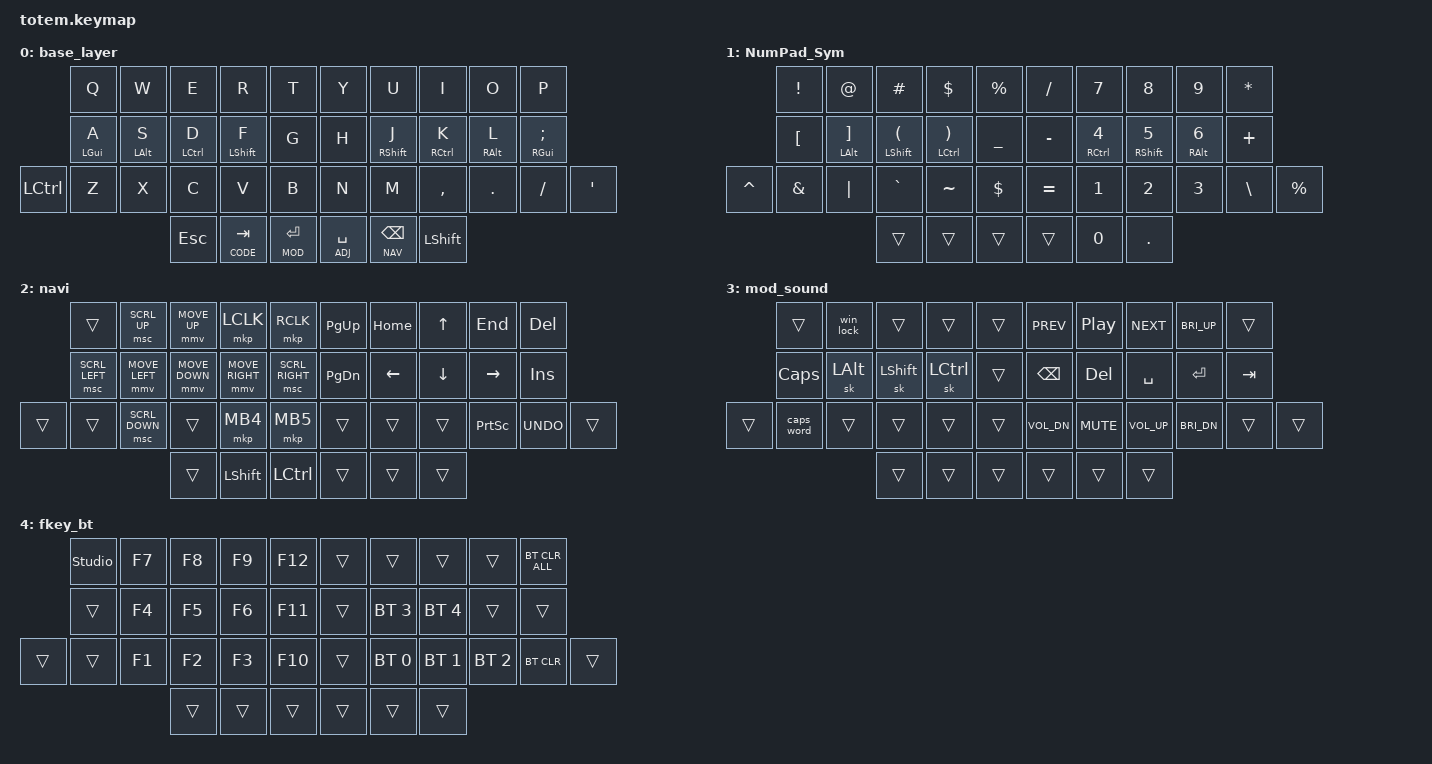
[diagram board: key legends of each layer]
#include <behaviors.dtsi>
#include <dt-bindings/zmk/bt.h>
#include <dt-bindings/zmk/keys.h>
#include <dt-bindings/zmk/pointing.h>

#define BASE 0
#define CODE 1
#define NAV  2
#define MOD  3
#define ADJ  4

/ {
    behaviors {
        hml: homerow_mods_left {
            compatible = "zmk,behavior-hold-tap";
            #binding-cells = <2>;
            tapping-term-ms = <200>;
            quick-tap-ms = <175>;
            require-prior-idle-ms = <300>;
            flavor = "balanced";
            bindings = <&kp>, <&kp>;
        };

        hmr: homerow_mods_right {
            compatible = "zmk,behavior-hold-tap";
            #binding-cells = <2>;
            tapping-term-ms = <200>;
            quick-tap-ms = <175>;
            require-prior-idle-ms = <300>;
            flavor = "balanced";
            bindings = <&kp>, <&kp>;
        };

        td_bs_pipe: backslash_pipe {
            compatible = "zmk,behavior-hold-tap";
            #binding-cells = <2>;
            tapping-term-ms = <200>;
            flavor = "tap-preferred";
            bindings = <&kp>, <&kp>;
        };
    };

    combos {
        compatible = "zmk,combos";

        combo_esc {
            timeout-ms = <50>;
            key-positions = <0 1>;
            bindings = <&kp ESC>;
            layers = <0>;
        };
    };

    macros {
        win_lock: win_lock_screen {
            compatible = "zmk,behavior-macro";
            #binding-cells = <0>;
            bindings =
                <&macro_press>,
                <&kp LGUI>,
                <&macro_tap>,
                <&kp L>,
                <&macro_release>,
                <&kp LGUI>;
        };
    };

    keymap {
        compatible = "zmk,keymap";

        base_layer {
            bindings = <
           &kp Q        &kp W        &kp E                &kp R              &kp T            &kp Y          &kp U               &kp I                 &kp O        &kp P
           &hml LGUI A  &hml LALT S  &hml LEFT_CONTROL D  &hml LEFT_SHIFT F  &kp G            &kp H          &hmr RIGHT_SHIFT J  &hmr RIGHT_CONTROL K  &hmr RALT L  &hmr RGUI SEMICOLON
&kp LCTRL  &kp Z        &kp X        &kp C                &kp V              &kp B            &kp N          &kp M               &kp COMMA             &kp DOT      &kp FSLH             &kp SQT
                                     &kp ESC              &lt CODE TAB       &lt MOD ENTER    &lt ADJ SPACE  &lt NAV BACKSPACE   &kp LSHFT
            >;
        };

        NumPad_Sym {
            bindings = <
           &kp EXCLAMATION  &kp AT          &kp HASH         &kp DOLLAR       &kp PERCENT    &kp FSLH   &kp N7         &kp N8         &kp N9        &kp STAR
           &kp LBKT         &hml LALT RBKT  &hml LSHFT LPAR  &hml LCTRL RPAR  &kp UNDER      &kp MINUS  &hmr RCTRL N4  &hmr RSHFT N5  &hmr RALT N6  &kp PLUS
&kp CARET  &kp AMPS         &kp PIPE        &kp GRAVE        &kp TILDE        &kp DLLR       &kp EQUAL  &kp N1         &kp N2         &kp N3        &kp BACKSLASH  &kp PRCNT
                                            &trans           &trans           &trans         &trans     &kp N0         &kp PERIOD
            >;
        };

        navi {
            bindings = <
        &trans          &msc SCRL_UP    &mmv MOVE_UP    &mkp LCLK        &mkp RCLK          &kp PG_UP  &kp HOME  &kp UP    &kp END    &kp DEL
        &msc SCRL_LEFT  &mmv MOVE_LEFT  &mmv MOVE_DOWN  &mmv MOVE_RIGHT  &msc SCRL_RIGHT    &kp PG_DN  &kp LEFT  &kp DOWN  &kp RIGHT  &kp INS
&trans  &trans          &msc SCRL_DOWN  &trans          &mkp MB4         &mkp MB5           &trans     &trans    &trans    &kp PSCRN  &kp K_UNDO  &trans
                                        &trans          &kp LSHFT        &kp LCTRL          &trans     &trans    &trans
            >;
        };

        mod_sound {
            bindings = <
        &trans      &win_lock  &trans     &trans     &trans    &kp C_PREV    &kp C_PP    &kp C_NEXT    &kp C_BRI_UP  &trans
        &kp CAPS    &sk LALT   &sk LSHFT  &sk LCTRL  &trans    &kp BSPC      &kp DEL     &kp SPACE     &kp ENTER     &kp TAB
&trans  &caps_word  &trans     &trans     &trans     &trans    &kp C_VOL_DN  &kp C_MUTE  &kp C_VOL_UP  &kp C_BRI_DN  &trans   &trans
                               &trans     &trans     &trans    &trans        &trans      &trans
            >;
        };

        fkey_bt {
            bindings = <
        &studio_unlock  &kp F7  &kp F8  &kp F9  &kp F12    &trans  &trans        &trans        &trans        &bt BT_CLR_ALL
        &trans          &kp F4  &kp F5  &kp F6  &kp F11    &trans  &bt BT_SEL 3  &bt BT_SEL 4  &trans        &trans
&trans  &trans          &kp F1  &kp F2  &kp F3  &kp F10    &trans  &bt BT_SEL 0  &bt BT_SEL 1  &bt BT_SEL 2  &bt BT_CLR      &trans
                                &trans  &trans  &trans     &trans  &trans        &trans
            >;
        };
    };
};

&sk {
    release-after-ms = <2000>;
    quick-release;
};
